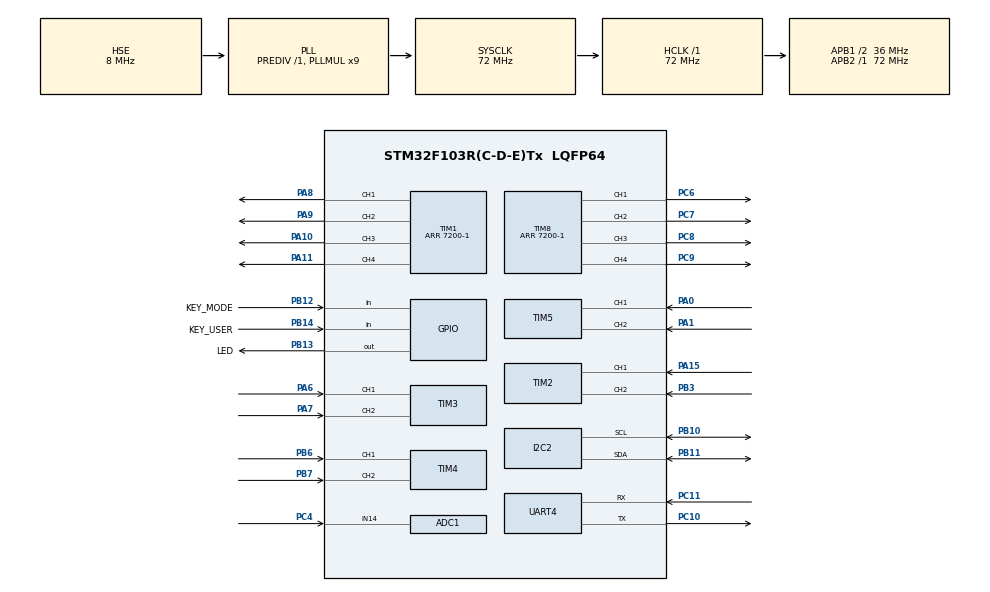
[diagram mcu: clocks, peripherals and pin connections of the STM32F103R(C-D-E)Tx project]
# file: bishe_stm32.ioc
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ADC1.Channel-12\#ChannelRegularConversion=ADC_CHANNEL_14
ADC1.ContinuousConvMode=ENABLE
ADC1.NbrOfConversionFlag=1
ADC1.Rank-12\#ChannelRegularConversion=1
ADC1.SamplingTime-12\#ChannelRegularConversion=ADC_SAMPLETIME_55CYCLES_5
ADC1.master=1
FREERTOS.Tasks01=defaultTask,24,128,StartDefaultTask,Default,NULL,Static,defaultTaskBuffer,defaultTaskControlBlock;myTaskMotor,8,128,StartTaskMotor,Default,NULL,Dynamic,NULL,NULL;myTaskDisplay,8,128,StartTaskDisplay,Default,NULL,Dynamic,NULL,NULL
Mcu.Family=STM32F1
Mcu.Name=STM32F103R(C-D-E)Tx
Mcu.Package=LQFP64
NVIC.ADC1_2_IRQn=true\:5\:0\:false\:false\:true\:true\:true\:true
NVIC.PriorityGroup=NVIC_PRIORITYGROUP_4
NVIC.TIM6_IRQn=true\:15\:0\:false\:false\:true\:false\:false\:true
NVIC.TimeBase=TIM6_IRQn
NVIC.TimeBaseIP=TIM6
NVIC.UART4_IRQn=true\:5\:0\:false\:false\:true\:true\:true\:true
PA0-WKUP.Signal=S_TIM5_CH1
PA1.Signal=S_TIM5_CH2
PA10.Signal=S_TIM1_CH3
PA11.Signal=S_TIM1_CH4
PA13.Mode=Serial_Wire
PA13.Signal=SYS_JTMS-SWDIO
PA14.Mode=Serial_Wire
PA14.Signal=SYS_JTCK-SWCLK
PA15.Signal=S_TIM2_CH1_ETR
PA6.Signal=S_TIM3_CH1
PA7.Signal=S_TIM3_CH2
PA8.Signal=S_TIM1_CH1
PA9.Signal=S_TIM1_CH2
PB10.Mode=I2C
PB10.Signal=I2C2_SCL
PB11.Mode=I2C
PB11.Signal=I2C2_SDA
PB12.GPIO_Label=KEY_MODE
PB12.Signal=GPIO_Input
PB13.GPIO_Label=LED
PB13.Signal=GPIO_Output
PB14.GPIO_Label=KEY_USER
PB14.Signal=GPIO_Input
PB3.Signal=S_TIM2_CH2
PB6.Signal=S_TIM4_CH1
PB7.Signal=S_TIM4_CH2
PC10.Mode=Asynchronous
PC10.Signal=UART4_TX
PC11.Mode=Asynchronous
PC11.Signal=UART4_RX
PC4.Signal=ADCx_IN14
PC6.Signal=S_TIM8_CH1
PC7.Signal=S_TIM8_CH2
PC8.Signal=S_TIM8_CH3
PC9.Signal=S_TIM8_CH4
PD0-OSC_IN.Mode=HSE-External-Oscillator
PD0-OSC_IN.Signal=RCC_OSC_IN
PD1-OSC_OUT.Mode=HSE-External-Oscillator
PD1-OSC_OUT.Signal=RCC_OSC_OUT
ProjectManager.HeapSize=0x200
ProjectManager.StackSize=0x400
ProjectManager.TargetToolchain=SW4STM32
RCC.ADCPresc=RCC_ADCPCLK2_DIV6
RCC.AHBFreq_Value=72000000
RCC.APB1CLKDivider=RCC_HCLK_DIV2
RCC.APB1Freq_Value=36000000
RCC.APB1TimFreq_Value=72000000
RCC.APB2Freq_Value=72000000
RCC.APB2TimFreq_Value=72000000
RCC.HCLKFreq_Value=72000000
RCC.PLLMUL=RCC_PLL_MUL9
RCC.PLLSourceVirtual=RCC_PLLSOURCE_HSE
RCC.SYSCLKFreq_VALUE=72000000
RCC.SYSCLKSource=RCC_SYSCLKSOURCE_PLLCLK
RCC.USBFreq_Value=72000000
SH.ADCx_IN14.0=ADC1_IN14,IN14
SH.S_TIM1_CH1.0=TIM1_CH1,PWM Generation1 CH1
SH.S_TIM1_CH2.0=TIM1_CH2,PWM Generation2 CH2
SH.S_TIM1_CH3.0=TIM1_CH3,PWM Generation3 CH3
SH.S_TIM1_CH4.0=TIM1_CH4,PWM Generation4 CH4
SH.S_TIM2_CH1_ETR.0=TIM2_CH1,Encoder_Interface
SH.S_TIM2_CH2.0=TIM2_CH2,Encoder_Interface
SH.S_TIM3_CH1.0=TIM3_CH1,Encoder_Interface
SH.S_TIM3_CH2.0=TIM3_CH2,Encoder_Interface
SH.S_TIM4_CH1.0=TIM4_CH1,Encoder_Interface
SH.S_TIM4_CH2.0=TIM4_CH2,Encoder_Interface
SH.S_TIM5_CH1.0=TIM5_CH1,Encoder_Interface
SH.S_TIM5_CH2.0=TIM5_CH2,Encoder_Interface
SH.S_TIM8_CH1.0=TIM8_CH1,PWM Generation1 CH1
SH.S_TIM8_CH2.0=TIM8_CH2,PWM Generation2 CH2
SH.S_TIM8_CH3.0=TIM8_CH3,PWM Generation3 CH3
SH.S_TIM8_CH4.0=TIM8_CH4,PWM Generation4 CH4
TIM1.Channel-PWM\ Generation1\ CH1=TIM_CHANNEL_1
TIM1.Channel-PWM\ Generation2\ CH2=TIM_CHANNEL_2
TIM1.Channel-PWM\ Generation3\ CH3=TIM_CHANNEL_3
TIM1.Channel-PWM\ Generation4\ CH4=TIM_CHANNEL_4
TIM1.Period=7200-1
TIM2.EncoderMode=TIM_ENCODERMODE_TI12
TIM2.IC1Filter=10
TIM2.IC2Filter=10
TIM3.EncoderMode=TIM_ENCODERMODE_TI12
TIM3.IC1Filter=10
TIM3.IC2Filter=10
TIM4.EncoderMode=TIM_ENCODERMODE_TI12
TIM4.IC1Filter=10
TIM4.IC2Filter=10
TIM5.EncoderMode=TIM_ENCODERMODE_TI12
TIM5.IC1Filter=10
TIM5.IC2Filter=10
TIM8.Channel-PWM\ Generation1\ CH1=TIM_CHANNEL_1
TIM8.Channel-PWM\ Generation2\ CH2=TIM_CHANNEL_2
TIM8.Channel-PWM\ Generation3\ CH3=TIM_CHANNEL_3
TIM8.Channel-PWM\ Generation4\ CH4=TIM_CHANNEL_4
TIM8.Period=7200-1
UART4.VirtualMode=Asynchronous
VP_FREERTOS_VS_CMSIS_V2.Mode=CMSIS_V2
VP_SYS_VS_tim6.Mode=TIM6
board=custom

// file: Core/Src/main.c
/* USER CODE BEGIN Header */
/**
  ******************************************************************************
  * @file           : main.c
  * @brief          : Main program body
  ******************************************************************************
  * @attention
  *
  * Copyright (c) 2022 STMicroelectronics.
  * All rights reserved.
  *
  * This software is licensed under terms that can be found in the LICENSE file
  * in the root directory of this software component.
  * If no LICENSE file comes with this software, it is provided AS-IS.
  *
  ******************************************************************************
  */
/* USER CODE END Header */
#include "main.h"
#include "cmsis_os.h"
#include "adc.h"
#include "i2c.h"
#include "tim.h"
#include "usart.h"
#include "gpio.h"

void SystemClock_Config(void);
void MX_FREERTOS_Init(void);

int main(void)
{

  /* MCU Configuration--------------------------------------------------------*/

  /* Reset of all peripherals, Initializes the Flash interface and the Systick. */
  HAL_Init();

  /* Configure the system clock */
  SystemClock_Config();

  /* Initialize all configured peripherals */
  MX_GPIO_Init();
  MX_UART4_Init();
  MX_TIM1_Init();
  MX_TIM2_Init();
  MX_TIM3_Init();
  MX_TIM4_Init();
  MX_TIM5_Init();
  MX_ADC1_Init();
  MX_I2C2_Init();
  MX_TIM8_Init();

  /* Init scheduler */
  osKernelInitialize();  /* Call init function for freertos objects (in freertos.c) */
  MX_FREERTOS_Init();
  /* Start scheduler */
  osKernelStart();

  /* We should never get here as control is now taken by the scheduler */
  /* Infinite loop */
  while (1)
  {

  }
}

void SystemClock_Config(void)
{
  RCC_OscInitTypeDef RCC_OscInitStruct = {0};
  RCC_ClkInitTypeDef RCC_ClkInitStruct = {0};
  RCC_PeriphCLKInitTypeDef PeriphClkInit = {0};

  /** Initializes the RCC Oscillators according to the specified parameters
  * in the RCC_OscInitTypeDef structure.
  */
  RCC_OscInitStruct.OscillatorType = RCC_OSCILLATORTYPE_HSE;
  RCC_OscInitStruct.HSEState = RCC_HSE_ON;
  RCC_OscInitStruct.HSEPredivValue = RCC_HSE_PREDIV_DIV1;
  RCC_OscInitStruct.HSIState = RCC_HSI_ON;
  RCC_OscInitStruct.PLL.PLLState = RCC_PLL_ON;
  RCC_OscInitStruct.PLL.PLLSource = RCC_PLLSOURCE_HSE;
  RCC_OscInitStruct.PLL.PLLMUL = RCC_PLL_MUL9;
  if (HAL_RCC_OscConfig(&RCC_OscInitStruct) != HAL_OK)
  {
    Error_Handler();
  }
  /** Initializes the CPU, AHB and APB buses clocks
  */
  RCC_ClkInitStruct.ClockType = RCC_CLOCKTYPE_HCLK|RCC_CLOCKTYPE_SYSCLK
                              |RCC_CLOCKTYPE_PCLK1|RCC_CLOCKTYPE_PCLK2;
  RCC_ClkInitStruct.SYSCLKSource = RCC_SYSCLKSOURCE_PLLCLK;
  RCC_ClkInitStruct.AHBCLKDivider = RCC_SYSCLK_DIV1;
  RCC_ClkInitStruct.APB1CLKDivider = RCC_HCLK_DIV2;
  RCC_ClkInitStruct.APB2CLKDivider = RCC_HCLK_DIV1;

  if (HAL_RCC_ClockConfig(&RCC_ClkInitStruct, FLASH_LATENCY_2) != HAL_OK)
  {
    Error_Handler();
  }
  PeriphClkInit.PeriphClockSelection = RCC_PERIPHCLK_ADC;
  PeriphClkInit.AdcClockSelection = RCC_ADCPCLK2_DIV6;
  if (HAL_RCCEx_PeriphCLKConfig(&PeriphClkInit) != HAL_OK)
  {
    Error_Handler();
  }
}

void HAL_TIM_PeriodElapsedCallback(TIM_HandleTypeDef *htim)
{
  if (htim->Instance == TIM6) {
    HAL_IncTick();
  }
}

void Error_Handler(void)
{
  __disable_irq();
  while (1)
  {
  }
}

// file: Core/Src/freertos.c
/* USER CODE BEGIN Header */
/**
  ******************************************************************************
  * File Name          : freertos.c
  * Description        : Code for freertos applications
  ******************************************************************************
  * @attention
  *
  * Copyright (c) 2022 STMicroelectronics.
  * All rights reserved.
  *
  * This software is licensed under terms that can be found in the LICENSE file
  * in the root directory of this software component.
  * If no LICENSE file comes with this software, it is provided AS-IS.
  *
  ******************************************************************************
  */
/* USER CODE END Header */

#include "FreeRTOS.h"
#include "task.h"
#include "main.h"
#include "cmsis_os.h"

/* USER CODE BEGIN Includes */
#include "user/motor.h"
#include "user/data.h"
#include "user/power.h"
#include "user/display.h"
#include "user/debug_com.h"

/* USER CODE END Includes */

typedef StaticTask_t osStaticThreadDef_t;

/* USER CODE BEGIN Variables */
carInfoType carInfo;
pidInfoType pidInfoList[4];
motorInfoType motorInfoList[4];
uint8_t ipaddr[20] = "0:192.168.2.1";

/* USER CODE END Variables */
/* Definitions for defaultTask */
osThreadId_t defaultTaskHandle;
uint32_t defaultTaskBuffer[ 128 ];
osStaticThreadDef_t defaultTaskControlBlock;
const osThreadAttr_t defaultTask_attributes = {
  .name = "defaultTask",
  .cb_mem = &defaultTaskControlBlock,
  .cb_size = sizeof(defaultTaskControlBlock),
  .stack_mem = &defaultTaskBuffer[0],
  .stack_size = sizeof(defaultTaskBuffer),
  .priority = (osPriority_t) osPriorityNormal,
};
/* Definitions for myTaskMotor */
osThreadId_t myTaskMotorHandle;
const osThreadAttr_t myTaskMotor_attributes = {
  .name = "myTaskMotor",
  .stack_size = 128 * 4,
  .priority = (osPriority_t) osPriorityLow,
};
/* Definitions for myTaskDisplay */
osThreadId_t myTaskDisplayHandle;
const osThreadAttr_t myTaskDisplay_attributes = {
  .name = "myTaskDisplay",
  .stack_size = 128 * 4,
  .priority = (osPriority_t) osPriorityLow,
};

/* USER CODE BEGIN FunctionPrototypes */
void OLED_flash_format(){
  OLED_ShowString(1, 0, (uint8_t *)"IPADDR", 8);
  OLED_ShowString(1, 3, (uint8_t *)"A-ENC", 8);
  OLED_ShowString(1, 4, (uint8_t *)"B-ENC", 8);
  OLED_ShowString(1, 5, (uint8_t *)"C-ENC", 8);
  OLED_ShowString(1, 6, (uint8_t *)"D-ENC", 8);
}
void show_info(int data, uint8_t x, uint8_t y){
  static uint8_t str[6];
  static uint8_t len;

  len = 6;
  for(uint8_t i=0; i<len; i++){
    str[i] = '0';
  }
  if(data >= 0){
    str[0] = '+';
  }else{
    str[0] = '-';
    data = -data;
  }
  str[--len] = '\0';
  while(data){
    str[--len] = data % 10 + '0';
    data /= 10;
  }

  OLED_ShowString(x, y, str, 8);
}
/* USER CODE END FunctionPrototypes */

void StartDefaultTask(void *argument);
void StartTaskMotor(void *argument);
void StartTaskDisplay(void *argument);

void MX_FREERTOS_Init(void); /* (MISRA C 2004 rule 8.1) */

void MX_FREERTOS_Init(void) {
  /* USER CODE BEGIN Init */
  carInfo.x = 0;
  carInfo.y = 0;
  carInfo.z = 0;

  init_motorInfo(&motorInfoList[0],&pidInfoList[0], &htim2, &htim1, &htim8, TIM_CHANNEL_1, TIM_CHANNEL_1);
  init_motorInfo(&motorInfoList[1],&pidInfoList[1], &htim3, &htim1, &htim8, TIM_CHANNEL_2, TIM_CHANNEL_2);
  init_motorInfo(&motorInfoList[2],&pidInfoList[2], &htim4, &htim1, &htim8, TIM_CHANNEL_3, TIM_CHANNEL_3);
  init_motorInfo(&motorInfoList[3],&pidInfoList[3], &htim5, &htim1, &htim8, TIM_CHANNEL_4, TIM_CHANNEL_4);

  start_data();
  start_motor(motorInfoList, 4);
  OLED_Init();
  OLED_preFlash();
  OLED_flash_format();
  /* USER CODE END Init */

  /* Create the thread(s) */
  /* creation of defaultTask */
  defaultTaskHandle = osThreadNew(StartDefaultTask, NULL, &defaultTask_attributes);

  /* creation of myTaskMotor */
  myTaskMotorHandle = osThreadNew(StartTaskMotor, NULL, &myTaskMotor_attributes);

  /* creation of myTaskDisplay */
  myTaskDisplayHandle = osThreadNew(StartTaskDisplay, NULL, &myTaskDisplay_attributes);

}

void StartDefaultTask(void *argument)
{
  /* USER CODE BEGIN StartDefaultTask */
  /* Infinite loop */
  for(;;)
  {
//    printf("%d %d %d\n", carInfo.x, carInfo.y, carInfo.z);
//    for (uint8_t i=0; i<4; i++){
//      printf("%-4d\t%-4d\t%-6d\n", motorInfoList[i].pidInfo.ENC, motorInfoList[i].pidInfo.TGT, motorInfoList[i].pidInfo.PWM);
//    }
//    printf("%d,%d,%d\r\n",motorInfoList[0].pidInfo->PWM/1000, motorInfoList[0].pidInfo->ENC, carInfo.x);
    osDelay(100);
  }
  /* USER CODE END StartDefaultTask */
}

void StartTaskMotor(void *argument)
{
  /* USER CODE BEGIN StartTaskMotor */
  /* Infinite loop */
  for(;;)
  {
    Kinematic_Analysis_4(motorInfoList, &carInfo);
    motor_run(motorInfoList, 4);
    osDelay(10);
  }
  /* USER CODE END StartTaskMotor */
}

void StartTaskDisplay(void *argument)
{
  /* USER CODE BEGIN StartTaskDisplay */
  /* Infinite loop */
  for(;;)
  {
    OLED_ShowString(1, 1, ipaddr, 8);
    show_info(motorInfoList[0].pidInfo->ENC, 1+8*6, 3);
    show_info(motorInfoList[1].pidInfo->ENC, 1+8*6, 4);
    show_info(motorInfoList[2].pidInfo->ENC, 1+8*6, 5);
    show_info(motorInfoList[3].pidInfo->ENC, 1+8*6, 6);
    osDelay(100);
  }
  /* USER CODE END StartTaskDisplay */
}
